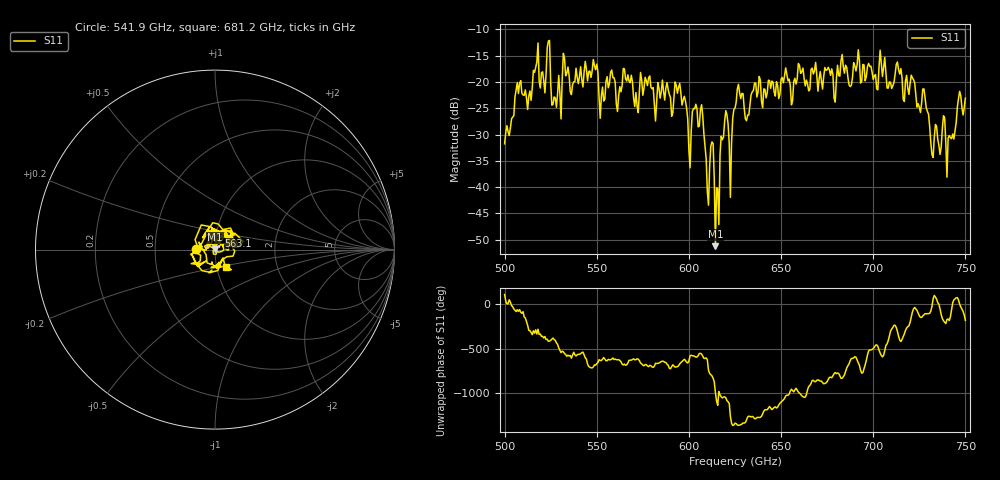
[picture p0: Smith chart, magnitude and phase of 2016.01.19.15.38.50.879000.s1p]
!Created with skrf (http://scikit-rf.org).
# GHz S RI R 50.0
!freq ReS11 ImS11
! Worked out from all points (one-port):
!   401 points, 500 GHz to 750 GHz, reference 50 ohm
!   lowest |S11| = -51.2 dB at 614.4 GHz (marker M1), VSWR 1.01, Z = 50 + j0.274 ohm
!   |S11| at or under -10 dB: start of sweep to end of sweep
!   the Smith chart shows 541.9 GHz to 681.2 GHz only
!   S11 on the Smith chart (normalised r, x): 541.9 GHz: 0.81, +0.01; 563.1 GHz: 1.03, +0.16; 681.2 GHz: 1.11, -0.22
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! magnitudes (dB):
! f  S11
! 500 GHz  -31.8
! 516.9 GHz  -17.2
! 520.6 GHz  -18.1
! 523.8 GHz  -12.2
! 526.9 GHz  -22.8
! 531.2 GHz  -19.4
! 541.9 GHz  -19.5
! 562.5 GHz  -20.9
! 563.1 GHz  -21.9
! 593.8 GHz  -22.1
! 600 GHz  -33.1
! 606.9 GHz  -24.3
! 610 GHz  -40.9
! 612.5 GHz  -31.4
! 614.4 GHz  -51.2
! 615.6 GHz  -40.3
! 618.8 GHz  -30.4
! 622.5 GHz  -42.0
! 625 GHz  -25.0
! 656.2 GHz  -23.5
! 681.2 GHz  -18.7
! 687.5 GHz  -20.9
! 705 GHz  -18.9
! 718.8 GHz  -21.2
! 728.1 GHz  -23.0
! 731.9 GHz  -33.8
! 741.2 GHz  -30.2
! 750 GHz  -23.1
